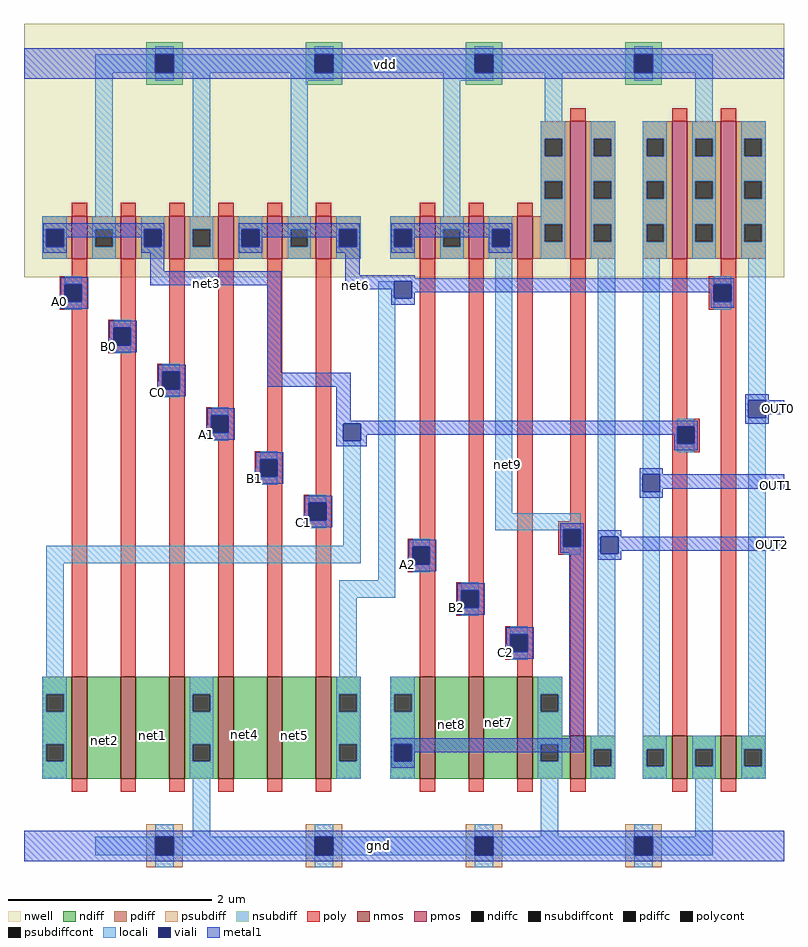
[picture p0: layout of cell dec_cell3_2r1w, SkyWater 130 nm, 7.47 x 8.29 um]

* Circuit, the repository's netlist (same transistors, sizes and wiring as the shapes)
* SPICE3 file created from dec_cell3_2r1w.ext - technology: sky130A


.subckt dec_cell3_2r1w A0 B0 C0 A1 B1 C1 A2 B2 C2 OUT0 OUT1 OUT2 vdd gnd
X0 net3 B0 vdd vdd sky130_fd_pr__pfet_01v8 ad=0 pd=0 as=0 ps=0 w=0.42 l=0.15
X1 OUT2 net9 vdd vdd sky130_fd_pr__pfet_01v8 ad=0 pd=0 as=0 ps=0 w=1.35 l=0.15
X2 gnd C0 net1 gnd sky130_fd_pr__nfet_01v8 ad=0 pd=0 as=0 ps=0 w=1.00 l=0.15
X3 net5 B1 net4 gnd sky130_fd_pr__nfet_01v8 ad=0 pd=0 as=0 ps=0 w=1.00 l=0.15
X4 OUT1 net6 vdd vdd sky130_fd_pr__pfet_01v8 ad=0 pd=0 as=0 ps=0 w=1.35 l=0.15
X5 net7 B2 net8 gnd sky130_fd_pr__nfet_01v8 ad=0 pd=0 as=0 ps=0 w=1.00 l=0.15
X6 vdd C0 net3 vdd sky130_fd_pr__pfet_01v8 ad=0 pd=0 as=0 ps=0 w=0.42 l=0.15
X7 vdd B1 net6 vdd sky130_fd_pr__pfet_01v8 ad=0 pd=0 as=0 ps=0 w=0.42 l=0.15
X8 net9 B2 vdd vdd sky130_fd_pr__pfet_01v8 ad=0 pd=0 as=0 ps=0 w=0.42 l=0.15
X9 net2 A0 net3 gnd sky130_fd_pr__nfet_01v8 ad=0 pd=0 as=0 ps=0 w=1.00 l=0.15
X10 net4 A1 gnd gnd sky130_fd_pr__nfet_01v8 ad=0 pd=0 as=0 ps=0 w=1.00 l=0.15
X11 net6 C1 net5 gnd sky130_fd_pr__nfet_01v8 ad=0 pd=0 as=0 ps=0 w=1.00 l=0.15
X12 gnd C2 net7 gnd sky130_fd_pr__nfet_01v8 ad=0 pd=0 as=0 ps=0 w=1.00 l=0.15
X13 net8 A2 net9 gnd sky130_fd_pr__nfet_01v8 ad=0 pd=0 as=0 ps=0 w=1.00 l=0.15
X14 gnd net3 OUT0 gnd sky130_fd_pr__nfet_01v8 ad=0 pd=0 as=0 ps=0 w=0.42 l=0.15
X15 vdd A0 net3 vdd sky130_fd_pr__pfet_01v8 ad=0 pd=0 as=0 ps=0 w=0.42 l=0.15
X16 net6 A1 vdd vdd sky130_fd_pr__pfet_01v8 ad=0 pd=0 as=0 ps=0 w=0.42 l=0.15
X17 net6 C1 vdd vdd sky130_fd_pr__pfet_01v8 ad=0 pd=0 as=0 ps=0 w=0.42 l=0.15
X18 vdd A2 net9 vdd sky130_fd_pr__pfet_01v8 ad=0 pd=0 as=0 ps=0 w=0.42 l=0.15
X19 vdd C2 net9 vdd sky130_fd_pr__pfet_01v8 ad=0 pd=0 as=0 ps=0 w=0.42 l=0.15
X20 vdd net3 OUT0 vdd sky130_fd_pr__pfet_01v8 ad=0 pd=0 as=0 ps=0 w=1.35 l=0.15
X21 net1 B0 net2 gnd sky130_fd_pr__nfet_01v8 ad=0 pd=0 as=0 ps=0 w=1.00 l=0.15
X22 OUT2 net9 gnd gnd sky130_fd_pr__nfet_01v8 ad=0 pd=0 as=0 ps=0 w=0.42 l=0.15
X23 OUT1 net6 gnd gnd sky130_fd_pr__nfet_01v8 ad=0 pd=0 as=0 ps=0 w=0.42 l=0.15
.ends

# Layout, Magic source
magic
tech sky130A
<< nwell >>
rect 0 559 747 808
<< nmos >>
rect 47 66 62 166
rect 95 66 110 166
rect 143 66 158 166
rect 191 66 206 166
rect 239 66 254 166
rect 287 66 302 166
rect 389 66 404 166
rect 437 66 452 166
rect 485 66 500 166
rect 537 66 552 108
rect 637 66 652 108
rect 685 66 700 108
<< pmos >>
rect 47 577 62 619
rect 95 577 110 619
rect 143 577 158 619
rect 191 577 206 619
rect 239 577 254 619
rect 287 577 302 619
rect 389 577 404 619
rect 437 577 452 619
rect 485 577 500 619
rect 537 577 552 712
rect 637 577 652 712
rect 685 577 700 712
<< ndiff >>
rect 18 149 47 166
rect 18 132 22 149
rect 39 132 47 149
rect 18 100 47 132
rect 18 83 22 100
rect 39 83 47 100
rect 18 66 47 83
rect 62 66 95 166
rect 110 66 143 166
rect 158 149 191 166
rect 158 132 166 149
rect 183 132 191 149
rect 158 100 191 132
rect 158 83 166 100
rect 183 83 191 100
rect 158 66 191 83
rect 206 66 239 166
rect 254 66 287 166
rect 302 149 331 166
rect 302 132 310 149
rect 327 132 331 149
rect 302 100 331 132
rect 302 83 310 100
rect 327 83 331 100
rect 302 66 331 83
rect 360 149 389 166
rect 360 132 364 149
rect 381 132 389 149
rect 360 100 389 132
rect 360 83 364 100
rect 381 83 389 100
rect 360 66 389 83
rect 404 66 437 166
rect 452 66 485 166
rect 500 149 529 166
rect 500 132 508 149
rect 525 132 529 149
rect 500 108 529 132
rect 500 100 537 108
rect 500 83 508 100
rect 525 83 537 100
rect 500 66 537 83
rect 552 95 581 108
rect 552 78 560 95
rect 577 78 581 95
rect 552 66 581 78
rect 608 95 637 108
rect 608 78 612 95
rect 629 78 637 95
rect 608 66 637 78
rect 652 95 685 108
rect 652 78 660 95
rect 677 78 685 95
rect 652 66 685 78
rect 700 95 729 108
rect 700 78 708 95
rect 725 78 729 95
rect 700 66 729 78
<< pdiff >>
rect 508 695 537 712
rect 508 678 512 695
rect 529 678 537 695
rect 508 653 537 678
rect 508 636 512 653
rect 529 636 537 653
rect 508 619 537 636
rect 18 606 47 619
rect 18 589 22 606
rect 39 589 47 606
rect 18 577 47 589
rect 62 606 95 619
rect 62 589 70 606
rect 87 589 95 606
rect 62 577 95 589
rect 110 606 143 619
rect 110 589 118 606
rect 135 589 143 606
rect 110 577 143 589
rect 158 606 191 619
rect 158 589 166 606
rect 183 589 191 606
rect 158 577 191 589
rect 206 606 239 619
rect 206 589 214 606
rect 231 589 239 606
rect 206 577 239 589
rect 254 606 287 619
rect 254 589 262 606
rect 279 589 287 606
rect 254 577 287 589
rect 302 606 331 619
rect 302 589 310 606
rect 327 589 331 606
rect 302 577 331 589
rect 360 606 389 619
rect 360 589 364 606
rect 381 589 389 606
rect 360 577 389 589
rect 404 606 437 619
rect 404 589 412 606
rect 429 589 437 606
rect 404 577 437 589
rect 452 606 485 619
rect 452 589 460 606
rect 477 589 485 606
rect 452 577 485 589
rect 500 611 537 619
rect 500 594 512 611
rect 529 594 537 611
rect 500 577 537 594
rect 552 695 581 712
rect 552 678 560 695
rect 577 678 581 695
rect 552 653 581 678
rect 552 636 560 653
rect 577 636 581 653
rect 552 611 581 636
rect 552 594 560 611
rect 577 594 581 611
rect 552 577 581 594
rect 608 695 637 712
rect 608 678 612 695
rect 629 678 637 695
rect 608 653 637 678
rect 608 636 612 653
rect 629 636 637 653
rect 608 611 637 636
rect 608 594 612 611
rect 629 594 637 611
rect 608 577 637 594
rect 652 695 685 712
rect 652 678 660 695
rect 677 678 685 695
rect 652 653 685 678
rect 652 636 660 653
rect 677 636 685 653
rect 652 611 685 636
rect 652 594 660 611
rect 677 594 685 611
rect 652 577 685 594
rect 700 695 729 712
rect 700 678 708 695
rect 725 678 729 695
rect 700 653 729 678
rect 700 636 708 653
rect 725 636 729 653
rect 700 611 729 636
rect 700 594 708 611
rect 725 594 729 611
rect 700 577 729 594
<< ndiffc >>
rect 22 132 39 149
rect 22 83 39 100
rect 166 132 183 149
rect 166 83 183 100
rect 310 132 327 149
rect 310 83 327 100
rect 364 132 381 149
rect 364 83 381 100
rect 508 132 525 149
rect 508 83 525 100
rect 560 78 577 95
rect 612 78 629 95
rect 660 78 677 95
rect 708 78 725 95
<< pdiffc >>
rect 512 678 529 695
rect 512 636 529 653
rect 22 589 39 606
rect 70 589 87 606
rect 118 589 135 606
rect 166 589 183 606
rect 214 589 231 606
rect 262 589 279 606
rect 310 589 327 606
rect 364 589 381 606
rect 412 589 429 606
rect 460 589 477 606
rect 512 594 529 611
rect 560 678 577 695
rect 560 636 577 653
rect 560 594 577 611
rect 612 678 629 695
rect 612 636 629 653
rect 612 594 629 611
rect 660 678 677 695
rect 660 636 677 653
rect 660 594 677 611
rect 708 678 725 695
rect 708 636 725 653
rect 708 594 725 611
<< psubdiff >>
rect 120 9 156 21
rect 120 -9 129 9
rect 147 -9 156 9
rect 120 -21 156 -9
rect 277 9 313 21
rect 277 -9 286 9
rect 304 -9 313 9
rect 277 -21 313 -9
rect 434 9 470 21
rect 434 -9 443 9
rect 461 -9 470 9
rect 434 -21 470 -9
rect 591 9 627 21
rect 591 -9 600 9
rect 618 -9 627 9
rect 591 -21 627 -9
<< nsubdiff >>
rect 120 778 156 790
rect 120 760 129 778
rect 147 760 156 778
rect 120 748 156 760
rect 277 778 313 790
rect 277 760 286 778
rect 304 760 313 778
rect 277 748 313 760
rect 434 778 470 790
rect 434 760 443 778
rect 461 760 470 778
rect 434 748 470 760
rect 591 778 627 790
rect 591 760 600 778
rect 618 760 627 778
rect 591 748 627 760
<< psubdiffcont >>
rect 129 -9 147 9
rect 286 -9 304 9
rect 443 -9 461 9
rect 600 -9 618 9
<< nsubdiffcont >>
rect 129 760 147 778
rect 286 760 304 778
rect 443 760 461 778
rect 600 760 618 778
<< poly >>
rect 537 712 552 725
rect 637 712 652 725
rect 685 712 700 725
rect 47 619 62 632
rect 95 619 110 632
rect 143 619 158 632
rect 191 619 206 632
rect 239 619 254 632
rect 287 619 302 632
rect 389 619 404 632
rect 437 619 452 632
rect 485 619 500 632
rect 47 560 62 577
rect 35 552 62 560
rect 35 535 40 552
rect 57 535 62 552
rect 35 527 62 535
rect 47 166 62 527
rect 95 517 110 577
rect 83 509 110 517
rect 83 492 88 509
rect 105 492 110 509
rect 83 484 110 492
rect 95 166 110 484
rect 143 474 158 577
rect 131 466 158 474
rect 131 449 136 466
rect 153 449 158 466
rect 131 441 158 449
rect 143 166 158 441
rect 191 431 206 577
rect 179 423 206 431
rect 179 406 184 423
rect 201 406 206 423
rect 179 398 206 406
rect 191 166 206 398
rect 239 388 254 577
rect 227 380 254 388
rect 227 363 232 380
rect 249 363 254 380
rect 227 355 254 363
rect 239 166 254 355
rect 287 345 302 577
rect 275 337 302 345
rect 275 320 280 337
rect 297 320 302 337
rect 275 312 302 320
rect 287 166 302 312
rect 389 302 404 577
rect 377 294 404 302
rect 377 277 382 294
rect 399 277 404 294
rect 377 269 404 277
rect 389 166 404 269
rect 437 259 452 577
rect 425 251 452 259
rect 425 234 430 251
rect 447 234 452 251
rect 425 226 452 234
rect 437 166 452 226
rect 485 216 500 577
rect 537 319 552 577
rect 525 311 552 319
rect 525 294 530 311
rect 547 294 552 311
rect 525 286 552 294
rect 473 208 500 216
rect 473 191 478 208
rect 495 191 500 208
rect 473 183 500 191
rect 485 166 500 183
rect 537 108 552 286
rect 637 420 652 577
rect 685 560 700 577
rect 673 552 700 560
rect 673 535 678 552
rect 695 535 700 552
rect 673 527 700 535
rect 637 412 664 420
rect 637 395 642 412
rect 659 395 664 412
rect 637 387 664 395
rect 637 108 652 387
rect 685 108 700 527
rect 47 53 62 66
rect 95 53 110 66
rect 143 53 158 66
rect 191 53 206 66
rect 239 53 254 66
rect 287 53 302 66
rect 389 53 404 66
rect 437 53 452 66
rect 485 53 500 66
rect 537 53 552 66
rect 637 53 652 66
rect 685 53 700 66
<< polycont >>
rect 40 535 57 552
rect 88 492 105 509
rect 136 449 153 466
rect 184 406 201 423
rect 232 363 249 380
rect 280 320 297 337
rect 382 277 399 294
rect 430 234 447 251
rect 530 294 547 311
rect 478 191 495 208
rect 678 535 695 552
rect 642 395 659 412
<< locali >>
rect 129 778 147 786
rect 286 778 304 786
rect 443 778 461 786
rect 600 778 618 786
rect 70 760 129 778
rect 147 760 286 778
rect 304 760 443 778
rect 461 760 600 778
rect 618 760 677 778
rect 70 619 87 760
rect 129 752 147 760
rect 166 619 183 760
rect 262 752 304 760
rect 412 752 461 760
rect 262 619 279 752
rect 412 619 429 752
rect 512 712 529 760
rect 600 752 618 760
rect 660 712 677 760
rect 508 695 532 712
rect 508 678 512 695
rect 529 678 532 695
rect 508 653 532 678
rect 508 636 512 653
rect 529 636 532 653
rect 18 606 42 619
rect 18 589 22 606
rect 39 589 42 606
rect 18 577 42 589
rect 67 606 90 619
rect 67 589 70 606
rect 87 589 90 606
rect 67 577 90 589
rect 115 606 138 619
rect 115 589 118 606
rect 135 589 138 606
rect 115 577 138 589
rect 163 606 186 619
rect 163 589 166 606
rect 183 589 186 606
rect 163 577 186 589
rect 211 606 234 619
rect 211 589 214 606
rect 231 589 234 606
rect 211 577 234 589
rect 259 606 282 619
rect 259 589 262 606
rect 279 589 282 606
rect 259 577 282 589
rect 307 606 331 619
rect 307 589 310 606
rect 327 589 331 606
rect 307 577 331 589
rect 360 606 384 619
rect 360 589 364 606
rect 381 589 384 606
rect 360 577 384 589
rect 409 606 432 619
rect 409 589 412 606
rect 429 589 432 606
rect 409 577 432 589
rect 457 606 480 619
rect 457 589 460 606
rect 477 589 480 606
rect 457 577 480 589
rect 508 611 532 636
rect 508 594 512 611
rect 529 594 532 611
rect 508 577 532 594
rect 557 695 581 712
rect 557 678 560 695
rect 577 678 581 695
rect 557 653 581 678
rect 557 636 560 653
rect 577 636 581 653
rect 557 611 581 636
rect 557 594 560 611
rect 577 594 581 611
rect 557 577 581 594
rect 40 552 57 560
rect 40 527 57 535
rect 348 538 364 555
rect 88 509 105 517
rect 88 484 105 492
rect 136 466 153 474
rect 136 441 153 449
rect 184 423 201 431
rect 184 398 201 406
rect 232 380 249 388
rect 232 355 249 363
rect 280 337 297 345
rect 280 312 297 320
rect 314 295 331 398
rect 22 278 331 295
rect 22 166 39 278
rect 348 261 365 538
rect 463 327 480 577
rect 463 311 547 327
rect 463 310 530 311
rect 382 294 399 302
rect 530 286 547 294
rect 564 304 581 577
rect 608 695 632 712
rect 608 678 612 695
rect 629 678 632 695
rect 608 653 632 678
rect 608 636 612 653
rect 629 636 632 653
rect 608 611 632 636
rect 608 594 612 611
rect 629 594 632 611
rect 608 577 632 594
rect 657 695 680 712
rect 657 678 660 695
rect 677 678 680 695
rect 657 653 680 678
rect 657 636 660 653
rect 677 636 680 653
rect 657 611 680 636
rect 657 594 660 611
rect 677 594 680 611
rect 657 577 680 594
rect 705 695 729 712
rect 705 678 708 695
rect 725 678 729 695
rect 705 653 729 678
rect 705 636 708 653
rect 725 636 729 653
rect 705 611 729 636
rect 705 594 708 611
rect 725 594 729 611
rect 705 577 729 594
rect 608 365 625 577
rect 678 552 695 560
rect 678 527 695 535
rect 712 438 729 577
rect 642 412 659 420
rect 642 387 659 395
rect 564 287 567 304
rect 382 269 399 277
rect 310 244 365 261
rect 430 251 447 259
rect 310 166 327 244
rect 430 226 447 234
rect 478 208 495 216
rect 478 183 495 191
rect 18 149 42 166
rect 18 132 22 149
rect 39 132 42 149
rect 18 100 42 132
rect 18 83 22 100
rect 39 83 42 100
rect 18 66 42 83
rect 163 149 186 166
rect 163 132 166 149
rect 183 132 186 149
rect 163 100 186 132
rect 163 83 166 100
rect 183 83 186 100
rect 163 66 186 83
rect 307 149 331 166
rect 307 132 310 149
rect 327 132 331 149
rect 307 100 331 132
rect 307 83 310 100
rect 327 83 331 100
rect 307 66 331 83
rect 360 149 384 166
rect 360 132 364 149
rect 381 132 384 149
rect 360 100 384 132
rect 360 83 364 100
rect 381 83 384 100
rect 360 66 384 83
rect 505 149 529 166
rect 505 132 508 149
rect 525 132 529 149
rect 505 100 529 132
rect 564 108 581 287
rect 505 83 508 100
rect 525 83 529 100
rect 505 66 529 83
rect 557 95 581 108
rect 557 78 560 95
rect 577 78 581 95
rect 557 66 581 78
rect 608 108 625 348
rect 712 108 729 421
rect 608 95 632 108
rect 608 78 612 95
rect 629 78 632 95
rect 608 66 632 78
rect 657 95 680 108
rect 657 78 660 95
rect 677 78 680 95
rect 657 66 680 78
rect 705 95 729 108
rect 705 78 708 95
rect 725 78 729 95
rect 705 66 729 78
rect 129 9 147 21
rect 166 9 183 66
rect 286 9 304 21
rect 443 9 461 21
rect 508 9 525 66
rect 600 9 618 21
rect 660 9 677 66
rect 70 -9 129 9
rect 147 -9 286 9
rect 304 -9 443 9
rect 461 -9 600 9
rect 618 -9 677 9
rect 129 -21 147 -9
rect 286 -21 304 -9
rect 443 -21 461 -9
rect 600 -21 618 -9
<< viali >>
rect 129 760 147 778
rect 286 760 304 778
rect 443 760 461 778
rect 600 760 618 778
rect 22 589 39 606
rect 118 589 135 606
rect 214 589 231 606
rect 310 589 327 606
rect 364 589 381 606
rect 460 589 477 606
rect 40 535 57 552
rect 364 538 381 555
rect 88 492 105 509
rect 136 449 153 466
rect 184 406 201 423
rect 314 398 331 415
rect 232 363 249 380
rect 280 320 297 337
rect 382 277 399 294
rect 530 294 547 311
rect 678 535 695 552
rect 712 421 729 438
rect 642 395 659 412
rect 608 348 625 365
rect 567 287 584 304
rect 430 234 447 251
rect 478 191 495 208
rect 364 83 381 100
rect 129 -9 147 9
rect 286 -9 304 9
rect 443 -9 461 9
rect 600 -9 618 9
<< metal1 >>
rect 0 778 747 784
rect 0 760 129 778
rect 147 760 286 778
rect 304 760 443 778
rect 461 760 600 778
rect 618 760 747 778
rect 0 754 747 760
rect 19 606 138 612
rect 19 589 22 606
rect 39 598 118 606
rect 39 589 42 598
rect 19 583 42 589
rect 115 589 118 598
rect 135 589 138 606
rect 115 583 138 589
rect 211 606 330 612
rect 211 589 214 606
rect 231 598 310 606
rect 231 589 234 598
rect 211 583 234 589
rect 307 589 310 598
rect 327 589 330 606
rect 307 583 330 589
rect 361 606 480 612
rect 361 589 364 606
rect 381 598 460 606
rect 381 589 384 598
rect 361 583 384 589
rect 457 589 460 598
rect 477 589 480 606
rect 457 583 480 589
rect 124 565 138 583
rect 36 552 63 559
rect 36 542 40 552
rect 35 535 40 542
rect 57 535 63 552
rect 124 551 253 565
rect 35 528 63 535
rect 84 509 111 516
rect 84 499 88 509
rect 83 492 88 499
rect 105 492 111 509
rect 83 485 111 492
rect 132 466 159 473
rect 132 456 136 466
rect 131 449 136 456
rect 153 449 159 466
rect 239 465 253 551
rect 316 561 330 583
rect 316 558 384 561
rect 316 555 698 558
rect 316 547 364 555
rect 361 538 364 547
rect 381 552 698 555
rect 381 544 678 552
rect 381 538 384 544
rect 361 532 384 538
rect 675 535 678 544
rect 695 535 698 552
rect 675 529 698 535
rect 239 451 321 465
rect 131 442 159 449
rect 180 423 207 430
rect 180 413 184 423
rect 179 406 184 413
rect 201 406 207 423
rect 179 399 207 406
rect 307 418 321 451
rect 709 438 732 444
rect 709 421 712 438
rect 729 424 747 438
rect 729 421 732 424
rect 307 415 662 418
rect 709 415 732 421
rect 307 398 314 415
rect 331 412 662 415
rect 331 404 642 412
rect 331 398 337 404
rect 307 393 337 398
rect 639 395 642 404
rect 659 395 662 412
rect 639 389 662 395
rect 228 380 255 387
rect 228 370 232 380
rect 227 363 232 370
rect 249 363 255 380
rect 227 356 255 363
rect 605 365 628 371
rect 605 348 608 365
rect 625 351 747 365
rect 625 348 628 351
rect 276 337 303 344
rect 605 342 628 348
rect 276 327 280 337
rect 275 320 280 327
rect 297 320 303 337
rect 275 313 303 320
rect 527 311 550 317
rect 378 294 405 301
rect 378 284 382 294
rect 377 277 382 284
rect 399 277 405 294
rect 527 294 530 311
rect 547 294 550 311
rect 527 288 550 294
rect 377 270 405 277
rect 426 251 453 258
rect 426 241 430 251
rect 425 234 430 241
rect 447 234 453 251
rect 425 227 453 234
rect 474 208 501 215
rect 474 198 478 208
rect 473 191 478 198
rect 495 191 501 208
rect 473 184 501 191
rect 536 106 550 288
rect 564 304 587 310
rect 564 287 567 304
rect 584 290 747 304
rect 584 287 587 290
rect 564 281 587 287
rect 361 100 550 106
rect 361 83 364 100
rect 381 92 550 100
rect 381 83 384 92
rect 361 77 384 83
rect 0 9 747 15
rect 0 -9 129 9
rect 147 -9 286 9
rect 304 -9 443 9
rect 461 -9 600 9
rect 618 -9 747 9
rect 0 -15 747 -9
<< labels >>
flabel metal1 736 296 736 296 0 FreeSans 80 0 0 0 OUT2
port 11 nsew
flabel metal1 348 0 348 0 0 FreeSans 80 0 0 0 gnd
port 13 nsew
flabel locali 475 375 475 375 0 FreeSans 80 0 0 0 net9
flabel metal1 742 430 742 430 0 FreeSans 80 0 0 0 OUT0
port 14 nsew
flabel metal1 740 354 740 354 0 FreeSans 80 0 0 0 OUT1
port 15 nsew
flabel metal1 355 768 355 768 0 FreeSans 80 0 0 0 vdd
port 12 nsew
flabel metal1 326 551 326 551 0 FreeSans 80 0 0 0 net6
flabel metal1 179 553 179 553 0 FreeSans 80 0 0 0 net3
flabel metal1 35 535 35 535 0 FreeSans 80 0 0 0 A0
port 0 nsew
flabel metal1 83 491 83 491 0 FreeSans 80 0 0 0 B0
port 1 nsew
flabel metal1 131 446 131 446 0 FreeSans 80 0 0 0 C0
port 2 nsew
flabel metal1 179 404 179 404 0 FreeSans 80 0 0 0 A1
port 3 nsew
flabel metal1 227 361 227 361 0 FreeSans 80 0 0 0 B1
port 4 nsew
flabel metal1 275 318 275 318 0 FreeSans 80 0 0 0 C1
port 5 nsew
flabel metal1 377 277 377 277 0 FreeSans 80 0 0 0 A2
port 6 nsew
flabel metal1 425 234 425 234 0 FreeSans 80 0 0 0 B2
port 7 nsew
flabel ndiff 217 109 217 109 0 FreeSans 80 0 0 0 net4
flabel ndiff 266 108 266 108 0 FreeSans 80 0 0 0 net5
flabel ndiff 126 108 126 108 0 FreeSans 80 0 0 0 net1
flabel ndiff 79 104 79 104 0 FreeSans 80 0 0 0 net2
flabel ndiff 466 121 466 121 0 FreeSans 80 0 0 0 net7
flabel ndiff 420 119 420 119 0 FreeSans 80 0 0 0 net8
flabel metal1 473 190 473 190 0 FreeSans 80 0 0 0 C2
port 8 nsew
<< properties >>
string FIXED_BBOX 0 0 747 769
<< end >>
